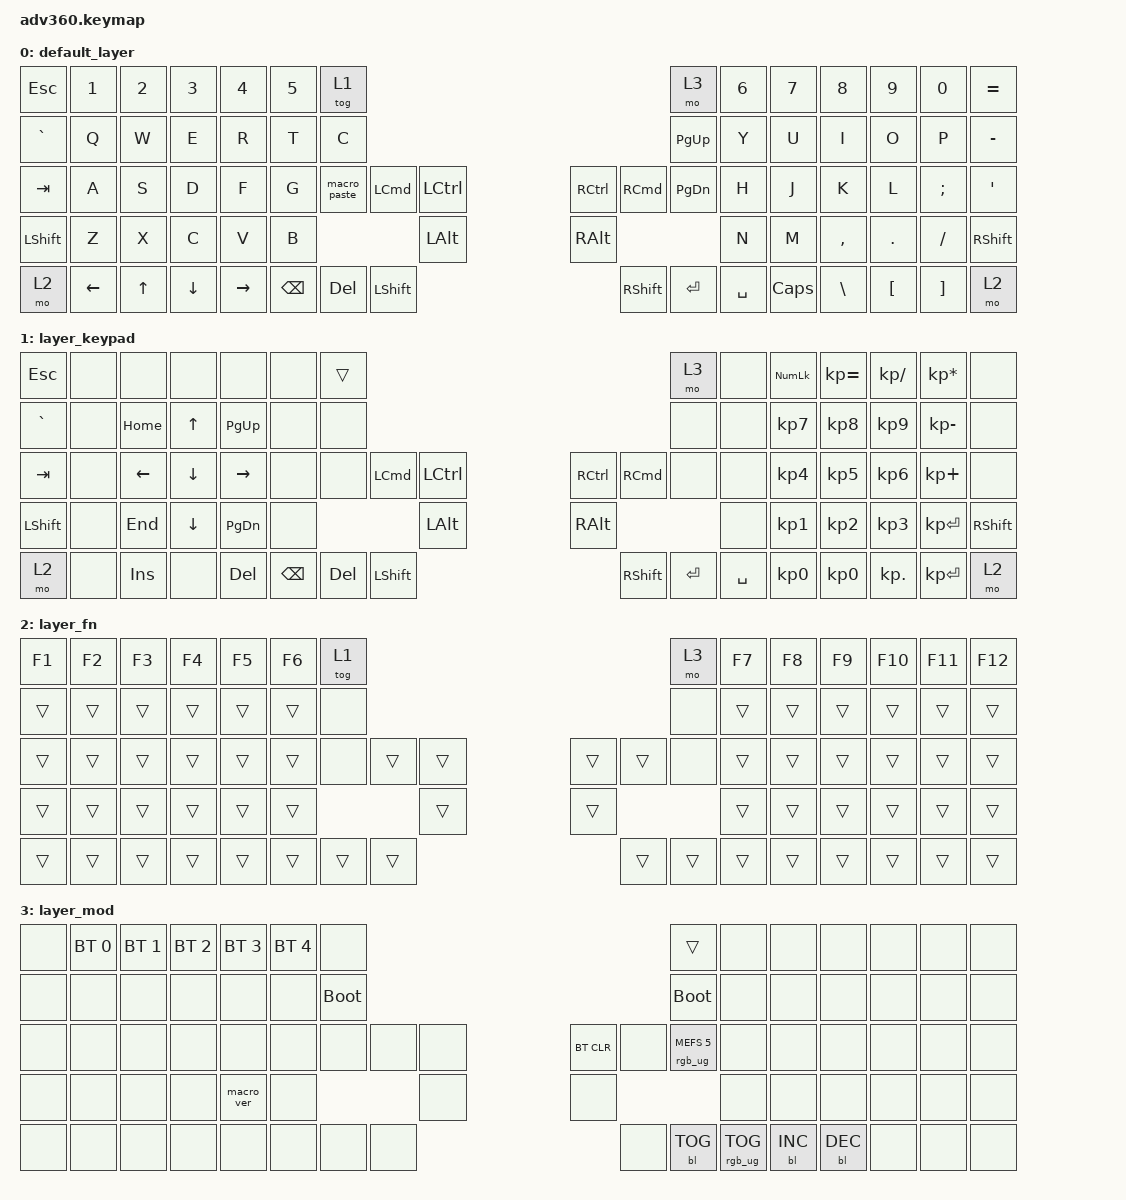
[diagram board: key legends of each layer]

/*
 * Copyright (c) 2020 The ZMK Contributors
 *
 * SPDX-License-Identifier: MIT
 */


/* THIS FILE WAS GENERATED!
 *
 * This file was generated automatically. You may or may not want to
 * edit it directly.
 */

#include <behaviors.dtsi>
#include <dt-bindings/zmk/keys.h>
#include <dt-bindings/zmk/bt.h>
#include <dt-bindings/zmk/rgb.h>
#include <dt-bindings/zmk/backlight.h>

/ {
  behaviors {
    #include "macros.dtsi"
    #include "version.dtsi"

    hm: homerow_mods {
        compatible = "zmk,behavior-hold-tap";
        label = "HOMEROW_MODS";
        #binding-cells = <2>;
        tapping-term-ms = <200>;
        quick_tap_ms = <175>;
        flavor = "tap-preferred";
        bindings = <&kp>, <&kp>;
    };
  };

    keymap {
        compatible = "zmk,keymap";


        default_layer {
            bindings = <
 &kp ESCAPE          &kp N1        &kp N2          &kp N3     &kp N4  &kp N5                  &tog 1                                                                                                    &mo 3  &kp N6        &kp N7         &kp N8    &kp N9    &kp N0  &kp EQUAL
  &kp GRAVE           &kp Q         &kp W           &kp E      &kp R   &kp T                   &kp C                                                                                              &kp PAGE_UP   &kp Y         &kp U          &kp I     &kp O     &kp P  &kp MINUS
    &kp TAB           &kp A         &kp S           &kp D      &kp F   &kp G            &macro_paste  &kp LEFT_COMMAND  &kp LEFT_CONTROL                  &kp RIGHT_CONTROL  &kp RIGHT_COMMAND  &kp PAGE_DOWN   &kp H         &kp J          &kp K     &kp L  &kp SEMI    &kp SQT
  &kp LSHFT           &kp Z         &kp X           &kp C      &kp V   &kp B                                                &kp LEFT_ALT                      &kp RIGHT_ALT                                     &kp N         &kp M      &kp COMMA   &kp DOT  &kp FSLH  &kp RSHFT
      &mo 2  &kp LEFT_ARROW  &kp UP_ARROW  &kp DOWN_ARROW  &kp RIGHT                        &kp BSPC           &kp DEL    &kp LEFT_SHIFT                    &kp RIGHT_SHIFT          &kp ENTER      &kp SPACE          &kp CAPSLOCK  &kp BACKSLASH  &kp LBKT  &kp RBKT      &mo 2
            >;
        };

        layer_keypad {
            bindings = <
   &kp ESC   &none           &none     &none            &none   &none              &trans                                                                                              &mo 3   &none  &kp KP_NUM  &kp KP_EQUAL  &kp KP_DIVIDE  &kp KP_MULTIPLY      &none
 &kp GRAVE   &none        &kp HOME    &kp UP        &kp PG_UP   &none               &none                                                                                              &none   &none   &kp KP_N7     &kp KP_N8      &kp KP_N9     &kp KP_MINUS      &none
   &kp TAB   &none  &kp LEFT_ARROW  &kp DOWN  &kp RIGHT_ARROW   &none               &none  &kp LEFT_COMMAND       &kp LCTRL                  &kp RIGHT_CONTROL  &kp RIGHT_COMMAND      &none   &none   &kp KP_N4     &kp KP_N5      &kp KP_N6      &kp KP_PLUS      &none
 &kp LSHFT   &none         &kp END  &kp DOWN        &kp PG_DN   &none                                              &kp LALT                      &kp RIGHT_ALT                                 &none   &kp KP_N1     &kp KP_N2      &kp KP_N3     &kp KP_ENTER  &kp RSHFT
     &mo 2   &none      &kp INSERT     &none       &kp DELETE                    &kp BSPC           &kp DEL  &kp LEFT_SHIFT                    &kp RIGHT_SHIFT          &kp ENTER  &kp SPACE           &kp KP_N0     &kp KP_N0     &kp KP_DOT     &kp KP_ENTER      &mo 2
            >;
        };

        layer_fn {
            bindings = <
 &kp F1  &kp F2  &kp F3  &kp F4  &kp F5  &kp F6            &tog 1                                                   &mo 3  &kp F7  &kp F8  &kp F9  &kp F10  &kp F11  &kp F12
 &trans  &trans  &trans  &trans  &trans  &trans             &none                                                   &none  &trans  &trans  &trans   &trans   &trans   &trans
 &trans  &trans  &trans  &trans  &trans  &trans             &none  &trans  &trans                  &trans  &trans   &none  &trans  &trans  &trans   &trans   &trans   &trans
 &trans  &trans  &trans  &trans  &trans  &trans                            &trans                  &trans                  &trans  &trans  &trans   &trans   &trans   &trans
 &trans  &trans  &trans  &trans  &trans                    &trans  &trans  &trans                  &trans  &trans  &trans          &trans  &trans   &trans   &trans   &trans
            >;
        };

        layer_mod {
            bindings = <
  &none  &bt BT_SEL 0  &bt BT_SEL 1  &bt BT_SEL 2  &bt BT_SEL 3  &bt BT_SEL 4                  &none                                                                          &trans   &none       &none       &none   &none   &none   &none
  &none         &none         &none         &none         &none         &none            &bootloader                                                                     &bootloader   &none       &none       &none   &none   &none   &none
  &none         &none         &none         &none         &none         &none                  &none   &none   &none                  &bt BT_CLR       &none  &rgb_ug RGB_MEFS_CMD 5   &none       &none       &none   &none   &none   &none
  &none         &none         &none         &none    &macro_ver         &none                                  &none                       &none                                       &none       &none       &none   &none   &none   &none
  &none         &none         &none         &none         &none                                &none   &none   &none                       &none  &bl BL_TOG         &rgb_ug RGB_TOG          &bl BL_INC  &bl BL_DEC   &none   &none   &none
            >;
        };

    };
};
